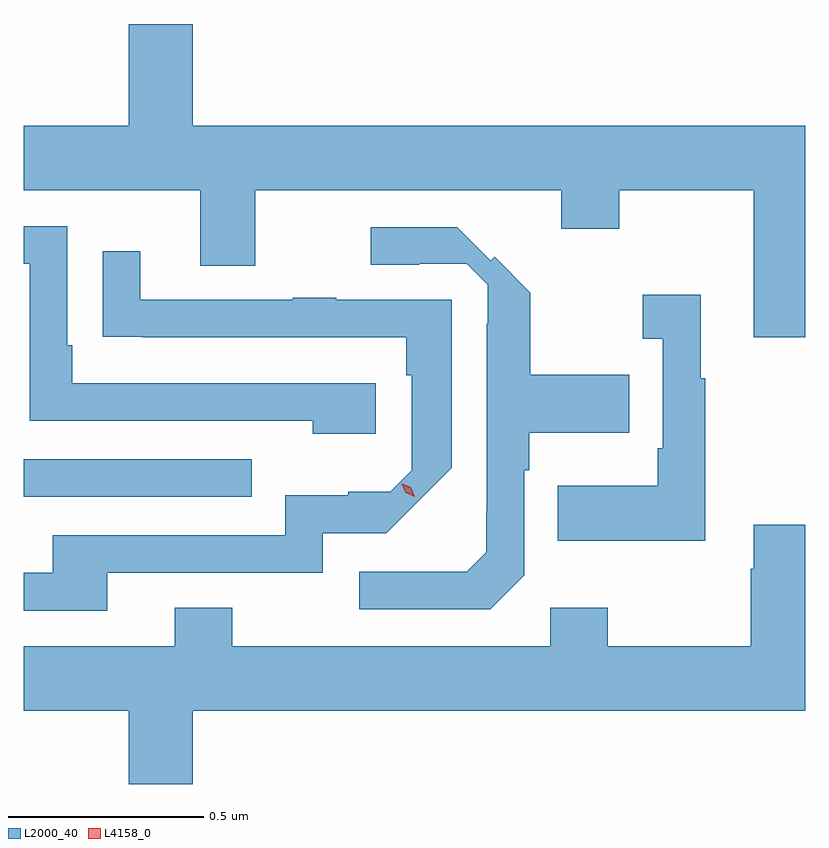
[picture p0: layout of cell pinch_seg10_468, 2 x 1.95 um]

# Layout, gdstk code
import gdstk
lib = gdstk.Library(unit=1e-6, precision=1e-09)
def R(c, l, rs):  # rectangles x0, y0, x1, y1
    for r in rs: c.add(gdstk.rectangle(r[:2], r[2:], *l))
def P(c, l, *ps):  # polygons
    for p in ps: c.add(gdstk.Polygon(p, *l))
L2000_40 = (2000, 40)
L4158_0 = (4158, 0)

pinch_seg10_468 = lib.new_cell('pinch_seg10_468')
R(pinch_seg10_468, L2000_40, [(356.547,1312.851,357.131,1312.947)])
P(pinch_seg10_468, L2000_40, [(358.547,1313.8),(356.98,1313.8),(356.98,1314.061),(356.816,1314.061),(356.816,1313.8),(356.547,1313.8),(356.547,1313.636),(356.999,1313.636),(356.999,1313.442),(357.139,1313.442),(357.139,1313.636),(357.923,1313.636),(357.923,1313.537),(358.071,1313.537),(358.071,1313.636),(358.415,1313.636),(358.415,1313.259),(358.547,1313.259)],
  [(357.448,1313.142),(356.671,1313.142),(356.671,1313.239),(356.658,1313.239),(356.658,1313.544),(356.547,1313.544),(356.547,1313.448),(356.562,1313.448),(356.562,1313.046),(357.287,1313.046),(357.287,1313.012),(357.448,1313.012)],
  [(357.828,1312.65),(357.828,1312.919),(357.841,1312.919),(357.841,1313.015),(358.097,1313.015),(358.097,1313.163),(357.843,1313.163),(357.843,1313.373),(357.752,1313.465),(357.742,1313.455),(357.656,1313.541),(357.435,1313.541),(357.435,1313.445),(357.559,1313.445),(357.559,1313.448),(357.681,1313.448),(357.735,1313.394),(357.735,1313.294),(357.732,1313.294),(357.732,1312.813),(357.731,1312.813),(357.731,1312.709),(357.681,1312.659),(357.405,1312.659),(357.405,1312.563),(357.741,1312.563)],
  [(356.761,1312.656),(357.312,1312.656),(357.312,1312.758),(357.475,1312.758),(357.642,1312.925),(357.642,1313.355),(357.347,1313.355),(357.347,1313.36),(357.235,1313.36),(357.235,1313.355),(356.845,1313.355),(356.845,1313.479),(356.749,1313.479),(356.749,1313.26),(356.851,1313.26),(356.851,1313.259),(357.526,1313.259),(357.526,1313.162),(357.54,1313.162),(357.54,1312.919),(357.485,1312.864),(357.378,1312.864),(357.378,1312.855),(357.216,1312.855),(357.216,1312.752),(356.621,1312.752),(356.621,1312.656),(356.547,1312.656),(356.547,1312.56),(356.761,1312.56)],
  [(358.291,1313.155),(358.279,1313.155),(358.279,1313.368),(358.131,1313.368),(358.131,1313.255),(358.182,1313.255),(358.182,1312.975),(358.17,1312.975),(358.17,1312.879),(357.913,1312.879),(357.913,1312.739),(358.291,1312.739)],
  [(356.98,1312.304),(358.547,1312.304),(358.547,1312.78),(358.415,1312.78),(358.415,1312.667),(358.408,1312.667),(358.408,1312.468),(358.041,1312.468),(358.041,1312.567),(357.894,1312.567),(357.894,1312.468),(357.081,1312.468),(357.081,1312.567),(356.933,1312.567),(356.933,1312.468),(356.547,1312.468),(356.547,1312.304),(356.816,1312.304),(356.816,1312.116),(356.98,1312.116)])
P(pinch_seg10_468, L4158_0, [(357.547,1312.851),(357.524,1312.861),(357.515,1312.884),(357.515,1312.884),(357.516,1312.884),(357.538,1312.875),(357.547,1312.851),(357.547,1312.851)])

lib.write_gds('pinch_seg10_468.gds')
